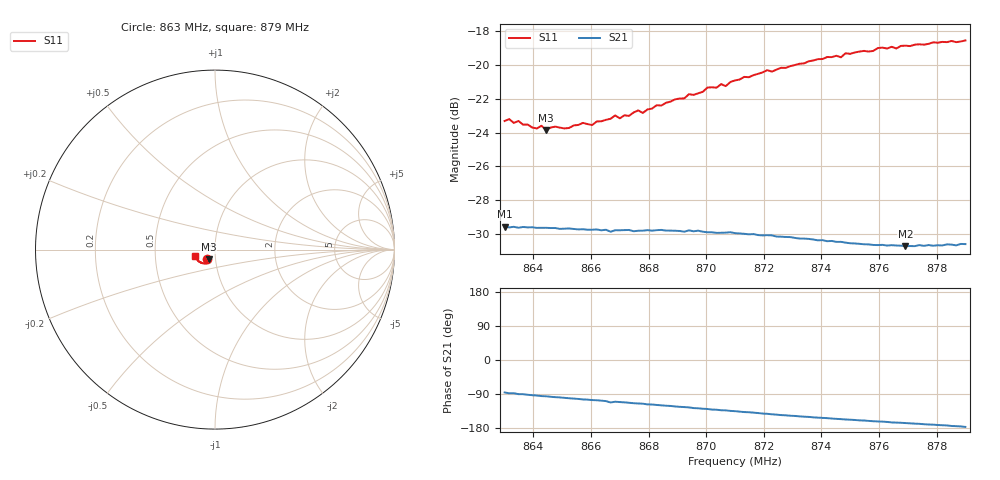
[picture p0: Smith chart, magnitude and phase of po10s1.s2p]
# HZ S RI R 50
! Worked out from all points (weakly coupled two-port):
!   101 points, 863 MHz to 879 MHz, reference 50 ohm
!   highest |S21| = -29.55 dB at 863 MHz (marker M1); lowest = -30.7 dB at 876.92 MHz (marker M2)
!   lowest |S11| = -23.8 dB at 864.44 MHz (marker M3), VSWR 1.14, Z = 46.3 - j4.98 ohm
!   |S11| at or under -10 dB: start of sweep to end of sweep
!   S12 and S22 are empty: the file has one direction only
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8.63e8  -0.0424 -0.0535  0.00254 -0.0332  0 0  0 0
8.6348e8  -0.0431 -0.053  -5.1e-05 -0.033  0 0  0 0
8.6412e8  -0.0371 -0.0532  -0.00218 -0.0329  0 0  0 0
8.6428e8  -0.0366 -0.0551  -0.003 -0.0329  0 0  0 0
8.6444e8  -0.0355 -0.0536  -0.00331 -0.0328  0 0  0 0
8.6476e8  -0.0362 -0.0549  -0.00461 -0.0326  0 0  0 0
8.6524e8  -0.0344 -0.0553  -0.00626 -0.0323  0 0  0 0
8.6572e8  -0.0334 -0.0585  -0.00797 -0.0317  0 0  0 0
8.6604e8  -0.0329 -0.0577  -0.00887 -0.0314  0 0  0 0
8.6684e8  -0.034 -0.0623  -0.0111 -0.0305  0 0  0 0
8.67e8  -0.0323 -0.0616  -0.0116 -0.0303  0 0  0 0
8.6844e8  -0.0349 -0.0673  -0.0161 -0.0283  0 0  0 0
8.6988e8  -0.0412 -0.0724  -0.0201 -0.0251  0 0  0 0
8.7004e8  -0.0426 -0.0744  -0.0203 -0.0248  0 0  0 0
8.7036e8  -0.0433 -0.0739  -0.021 -0.024  0 0  0 0
8.7052e8  -0.0459 -0.0748  -0.0216 -0.0235  0 0  0 0
8.7068e8  -0.0452 -0.0739  -0.0217 -0.0234  0 0  0 0
8.71e8  -0.0484 -0.0758  -0.0225 -0.0225  0 0  0 0
8.7372e8  -0.0693 -0.0763  -0.0267 -0.0146  0 0  0 0
8.7644e8  -0.0944 -0.0624  -0.0283 -0.00771  0 0  0 0
8.7692e8  -0.0975 -0.0591  -0.0283 -0.00684  0 0  0 0
8.79e8  -0.1118 -0.0379  -0.0295 -0.00177  0 0  0 0
